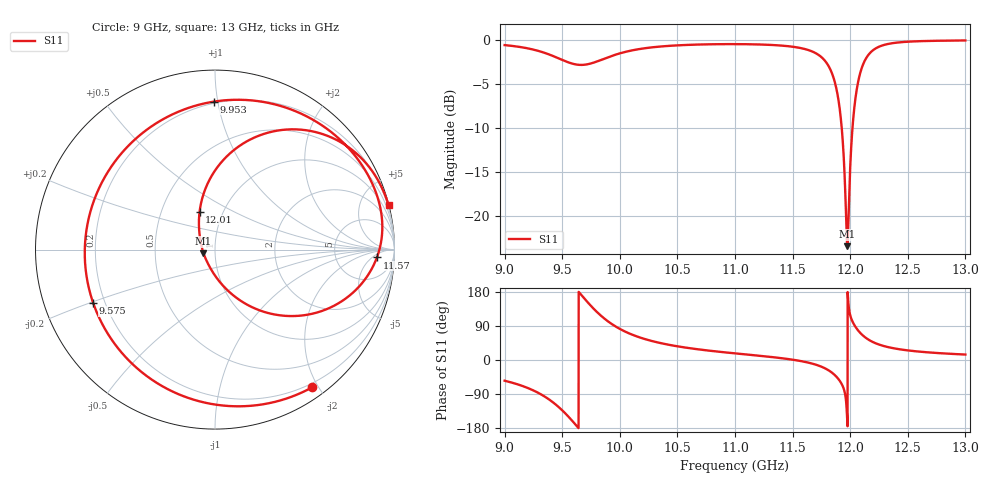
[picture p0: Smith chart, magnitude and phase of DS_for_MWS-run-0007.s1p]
! TOUCHSTONE file generated by CST DESIGN STUDIO
! Date and time: Tue Feb  4 17:35:13 2025
! Project name: C:\Work\MatlabApps\UnitCellOptimizationMatlab\CST\unitcell.cst
! Tree item: Tasks\Sweep1\SPara1\S-Parameters
! Header version: 2024
! Port assignment regex: !\s*Touchstone port\s*([0-9]+)\s*=\s*(CST MWS port|CST DES external port|CST DES block port)\s*(.+)\s* \(\"(.*)\"\)(\s*mode\s*([0-9]+))?.*
! Touchstone port assignment:
! Touchstone port 1 = CST DES external port 1 ("")
# GHz S MA R 50
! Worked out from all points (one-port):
!   4001 points, 9 GHz to 13 GHz, reference 50 ohm
!   lowest |S11| = -23.4 dB at 11.97 GHz (marker M1), VSWR 1.14, Z = 43.9 - j1.76 ohm
!   |S11| at or under -10 dB: 11.93 GHz to 12.02 GHz (93.01 MHz wide, 0.777 % of centre)
!   S11 on the Smith chart (normalised r, x): 9 GHz: 0.15, -1.93; 9.575 GHz: 0.16, -0.20; 9.953 GHz: 0.19, +0.97; 11.57 GHz: 16, -8; 12.01 GHz: 0.77, +0.35; 13 GHz: 0.06, +7.92
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9  0.9393 -54.7
9.161  0.9102 -69.2
9.313  0.8628 -90.2
9.412  0.8183 -109.9
9.5  0.7737 -132.8
9.575  0.7409 -156.4
9.674  0.7246 168.7
9.783  0.7503 132.2
9.864  0.7854 109.8
9.953  0.8245 90.4
10  0.8428 82.1
10.219  0.9018 55.1
10.5  0.9361 36.1
11  0.9515 17.5
11.5  0.9195 0.8
11.571  0.9032 -2.8
11.749  0.8036 -17.5
11.864  0.586 -39.1
11.921  0.3467 -60.6
11.963  0.1038 -105.4
11.975  0.0673 -162.7
12  0.189 118.2
12.006  0.2283 112.1
12.052  0.5011 84.7
12.128  0.7692 60.2
12.27  0.9306 38.8
12.5  0.9821 25.3
13  0.9983 14.4
